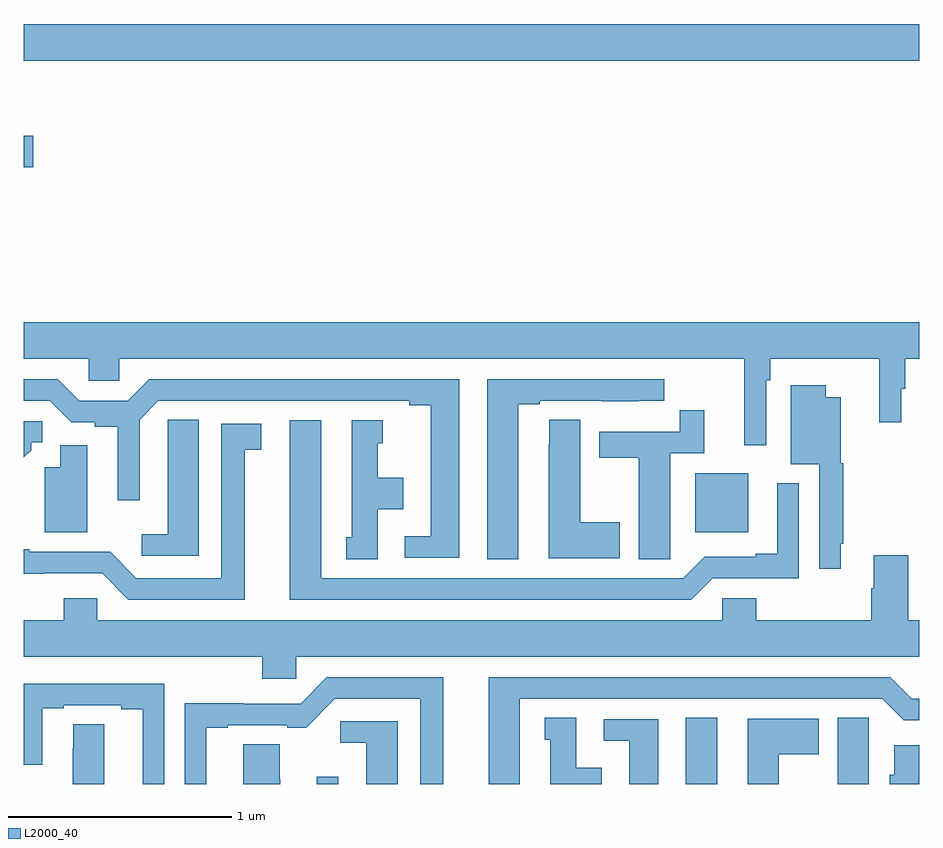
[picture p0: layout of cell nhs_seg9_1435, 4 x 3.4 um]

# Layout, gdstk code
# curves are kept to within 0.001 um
import gdstk
lib = gdstk.Library(unit=1e-6, precision=1e-09)
def R(c, l, rs):  # rectangles x0, y0, x1, y1
    for r in rs: c.add(gdstk.rectangle(r[:2], r[2:], *l))
def P(c, l, *ps):  # polygons
    for p in ps: c.add(gdstk.Polygon(p, *l))
L2000_40 = (2000, 40)

nhs_seg9_1435 = lib.new_cell('nhs_seg9_1435')
R(nhs_seg9_1435, L2000_40, [(192.308,1214.5,192.405,1214.533), (193.958,1214.5,194.098,1214.795), (194,1215.626,194.236,1215.889), (191,1217.255,191.041,1217.397), (191,1217.732,195,1217.896)])
P(nhs_seg9_1435, L2000_40, [(194.316,1216.304),(194.336,1216.304),(194.336,1216.4),(194.821,1216.4),(194.821,1216.116),(194.92,1216.116),(194.92,1216.266),(194.939,1216.266),(194.939,1216.4),(195,1216.4),(195,1216.564),(191,1216.564),(191,1216.4),(191.289,1216.4),(191.289,1216.302),(191.427,1216.302),(191.427,1216.4),(194.219,1216.4),(194.219,1216.014),(194.316,1216.014)],
  [(193.21,1216.197),(193.306,1216.197),(193.306,1216.212),(193.582,1216.212),(193.582,1216.211),(193.748,1216.211),(193.748,1216.212),(193.861,1216.212),(193.861,1216.308),(193.07,1216.308),(193.07,1215.505),(193.21,1215.505)],
  [(192.946,1216.308),(191.561,1216.308),(191.465,1216.212),(191.247,1216.212),(191.151,1216.308),(191,1216.308),(191,1216.212),(191.115,1216.212),(191.211,1216.116),(191.316,1216.116),(191.316,1216.096),(191.42,1216.096),(191.42,1215.768),(191.517,1215.768),(191.517,1216.128),(191.601,1216.212),(192.722,1216.212),(192.722,1216.192),(192.818,1216.192),(192.818,1215.606),(192.702,1215.606),(192.702,1215.51),(192.946,1215.51)],
  [(194.65,1215.574),(194.662,1215.574),(194.662,1215.933),(194.65,1215.933),(194.65,1216.228),(194.584,1216.228),(194.584,1216.282),(194.426,1216.282),(194.426,1215.929),(194.553,1215.929),(194.553,1215.462),(194.65,1215.462)],
  [(193.887,1215.616),(193.888,1215.616),(193.888,1215.978),(194.039,1215.978),(194.039,1216.171),(193.93,1216.171),(193.93,1216.074),(193.571,1216.074),(193.571,1215.958),(193.748,1215.958),(193.748,1215.505),(193.887,1215.505)],
  [(193.663,1215.669),(193.486,1215.669),(193.486,1216.127),(193.347,1216.127),(193.347,1216.019),(193.346,1216.019),(193.346,1215.509),(193.663,1215.509)],
  [(191.782,1216.127),(191.643,1216.127),(191.643,1216.019),(191.642,1216.019),(191.642,1215.616),(191.526,1215.616),(191.526,1215.519),(191.782,1215.519)],
  [(192.58,1215.728),(192.694,1215.728),(192.694,1215.868),(192.58,1215.868),(192.58,1216.023),(192.604,1216.023),(192.604,1216.126),(192.464,1216.126),(192.464,1215.603),(192.44,1215.603),(192.44,1215.505),(192.58,1215.505)],
  [(194.079,1215.42),(194.463,1215.42),(194.463,1215.844),(194.366,1215.844),(194.366,1215.529),(194.27,1215.529),(194.27,1215.516),(194.043,1215.516),(193.947,1215.42),(192.328,1215.42),(192.328,1216.126),(192.188,1216.126),(192.188,1215.324),(193.983,1215.324)],
  [(191.032,1215.991),(191.032,1216.026),(191.082,1216.026),(191.082,1216.122),(191,1216.122),(191,1215.959)],
  [(191.986,1215.994),(192.061,1215.994),(192.061,1216.11),(191.882,1216.11),(191.882,1215.42),(191.502,1215.42),(191.385,1215.537),(191.023,1215.537),(191.023,1215.55),(191,1215.55),(191,1215.44),(191.349,1215.441),(191.466,1215.324),(191.986,1215.324)],
  [(191.284,1216.014),(191.162,1216.014),(191.162,1215.916),(191.093,1215.916),(191.093,1215.626),(191.284,1215.626)],
  [(192.216,1215.068),(195,1215.068),(195,1215.232),(194.951,1215.232),(194.951,1215.523),(194.798,1215.523),(194.798,1215.374),(194.786,1215.374),(194.786,1215.232),(194.273,1215.232),(194.273,1215.33),(194.121,1215.33),(194.121,1215.232),(191.328,1215.232),(191.328,1215.33),(191.177,1215.33),(191.177,1215.232),(191,1215.232),(191,1215.068),(192.065,1215.068),(192.065,1214.97),(192.216,1214.97)],
  [(191.815,1214.751),(191.911,1214.751),(191.911,1214.763),(192.176,1214.763),(192.176,1214.752),(192.262,1214.752),(192.39,1214.88),(192.77,1214.88),(192.77,1214.5),(192.874,1214.5),(192.874,1214.976),(192.354,1214.976),(192.237,1214.859),(191.981,1214.859),(191.981,1214.861),(191.718,1214.861),(191.718,1214.5),(191.815,1214.5)],
  [(193.216,1214.88),(194.835,1214.88),(194.931,1214.784),(195,1214.784),(195,1214.88),(194.967,1214.88),(194.871,1214.976),(193.076,1214.976),(193.076,1214.5),(193.216,1214.5)],
  [(191.628,1214.949),(191,1214.949),(191,1214.587),(191.083,1214.587),(191.083,1214.838),(191.179,1214.838),(191.179,1214.853),(191.435,1214.853),(191.435,1214.833),(191.531,1214.833),(191.531,1214.5),(191.628,1214.5)],
  [(193.582,1214.572),(193.468,1214.572),(193.468,1214.795),(193.328,1214.795),(193.328,1214.697),(193.352,1214.697),(193.352,1214.5),(193.582,1214.5)],
  [(194.776,1214.684),(194.775,1214.684),(194.775,1214.795),(194.636,1214.795),(194.636,1214.5),(194.776,1214.5)],
  [(194.374,1214.632),(194.551,1214.632),(194.551,1214.791),(194.234,1214.791),(194.234,1214.5),(194.374,1214.5)],
  [(193.834,1214.79),(193.59,1214.79),(193.59,1214.694),(193.706,1214.694),(193.706,1214.5),(193.834,1214.5)],
  [(192.67,1214.781),(192.414,1214.781),(192.414,1214.684),(192.53,1214.684),(192.53,1214.5),(192.67,1214.5)],
  [(191.359,1214.768),(191.22,1214.768),(191.22,1214.66),(191.219,1214.66),(191.219,1214.5),(191.359,1214.5)],
  [(192.145,1214.52),(192.144,1214.52),(192.144,1214.678),(191.981,1214.678),(191.981,1214.5),(192.145,1214.5)],
  [(195,1214.674),(194.888,1214.674),(194.888,1214.541),(194.87,1214.541),(194.87,1214.5),(195,1214.5)])

lib.write_gds('nhs_seg9_1435.gds')
